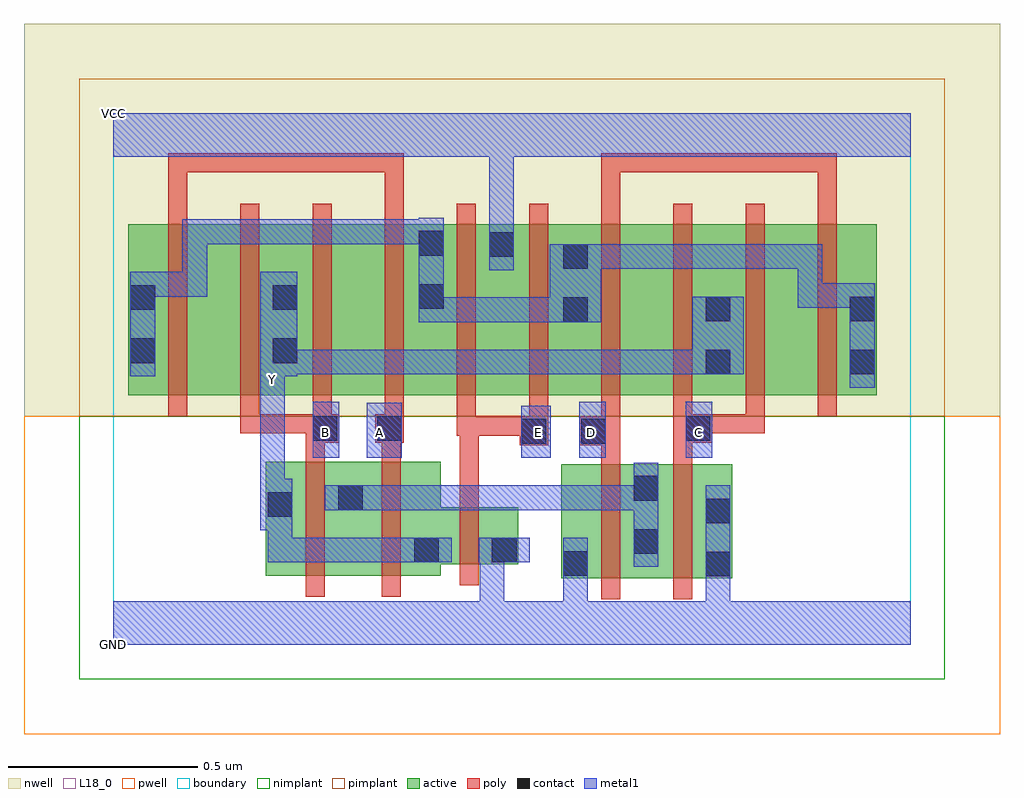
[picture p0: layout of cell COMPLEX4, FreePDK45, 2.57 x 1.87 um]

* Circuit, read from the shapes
.subckt COMPLEX4 A B C D E GND VCC Y
M1 n1 B Y VSUBS nfet w=0.3u l=0.05u
M2 Y A n1 VSUBS nfet w=0.3u l=0.05u
M3 GND E Y VSUBS nfet w=0.15u l=0.05u
M4 n1 D GND VSUBS nfet w=0.3u l=0.05u
M5 GND C n1 VSUBS nfet w=0.3u l=0.05u
M6 n2 A n3 n4 pfet w=0.45u l=0.05u
M7 Y B n2 n4 pfet w=0.45u l=0.05u
M8 n5 B Y n4 pfet w=0.45u l=0.05u
M9 n3 A n5 n4 pfet w=0.45u l=0.05u
M10 VCC E n3 n4 pfet w=0.45u l=0.05u m=2
M11 n6 D n3 n4 pfet w=0.45u l=0.05u
M12 Y C n6 n4 pfet w=0.45u l=0.05u
M13 n7 C Y n4 pfet w=0.45u l=0.05u
M14 n3 D n7 n4 pfet w=0.45u l=0.05u
.ends

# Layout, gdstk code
import gdstk
lib = gdstk.Library(unit=1e-6, precision=1e-09)
def R(c, l, rs):  # rectangles x0, y0, x1, y1
    for r in rs: c.add(gdstk.rectangle(r[:2], r[2:], *l))
def A(c, l, x, y, w, h, nx, ny, dx, dy):  # array of equal rectangles
    R(c, l, [(x+i*dx, y+j*dy, x+i*dx+w, y+j*dy+h) for i in range(nx) for j in range(ny)])
active = (1, 0)
pwell = (2, 0)
nwell = (3, 0)
nimplant = (4, 0)
pimplant = (5, 0)
poly = (9, 0)
contact = (10, 0)
metal1 = (11, 0)
L18_0 = (18, 0)
boundary = (235, 0)

complex4 = lib.new_cell('COMPLEX4')
R(complex4, active, [(1.18,0.175,1.44,0.475), (1.365,0.175,1.63,0.475), (1.555,0.175,1.63,0.475), (1.18,0.177,1.255,0.475), (0.402,0.182,0.662,0.482), (0.587,0.182,0.862,0.482), (0.402,0.2,0.477,0.482), (0.787,0.2,0.862,0.287), (1.365,0.2,1.44,0.45), (0.787,0.212,1.067,0.362), (0.992,0.212,1.067,0.362), (0.587,0.247,0.662,0.425), (0.04,0.657,0.115,1.107), (0.04,0.657,0.265,1.107), (0.265,0.657,0.49,1.107), (0.415,0.657,0.645,1.107), (0.415,0.657,0.49,1.07), (0.645,0.657,0.875,1.107), (0.8,0.657,1.06,1.107), (0.985,0.657,1.255,1.107), (1.18,0.657,1.405,1.107), (1.405,0.657,1.63,1.107), (1.555,0.657,1.785,1.107), (1.555,0.657,1.63,1.07), (1.785,0.657,2.01,1.107), (1.935,0.657,2.01,1.107), (1.18,0.702,1.255,1.107), (0.8,0.782,0.875,1.107), (0.985,0.795,1.06,1.107)])
R(complex4, pwell, [(-0.235,-0.235,2.335,0.602)])
R(complex4, nwell, [(-0.235,0.602,2.335,1.635)])
R(complex4, nimplant, [(-0.09,-0.09,2.19,0.602)])
R(complex4, pimplant, [(-0.09,0.602,2.19,1.49)])
A(complex4, poly, 0.905, 0.55, 0.05, 0.102, 3, 1, 0.19, 0)
A(complex4, poly, 0.335, 0.557, 0.05, 0.095, 3, 1, 0.19, 0)
A(complex4, poly, 0.145, 0.602, 0.05, 0.56, 10, 1, 0.19, 0)
A(complex4, poly, 0.145, 1.112, 0.05, 0.183, 4, 1, 0.57, 0)
R(complex4, poly, [(1.285,0.12,1.335,0.53), (1.475,0.12,1.525,0.53), (0.507,0.127,0.557,0.537), (0.707,0.127,0.757,0.537), (0.912,0.157,0.962,0.417), (0.912,0.367,0.962,0.6), (1.285,0.48,1.335,0.575), (1.475,0.48,1.525,0.582), (0.507,0.487,0.557,0.582), (0.707,0.487,0.757,0.582), (1.07,0.525,1.145,0.6), (1.227,0.525,1.335,0.6), (0.507,0.532,0.595,0.607), (0.69,0.532,0.765,0.607), (1.475,0.532,1.577,0.607), (0.905,0.55,0.962,0.6), (0.912,0.55,1.12,0.6), (1.07,0.55,1.12,0.6), (1.07,0.55,1.12,0.6), (0.335,0.557,0.385,0.607), (0.335,0.557,0.385,0.607), (0.335,0.557,0.385,0.607), (0.335,0.557,0.557,0.607), (1.475,0.557,1.525,0.652), (1.527,0.557,1.577,0.607), (1.527,0.557,1.577,0.607), (1.527,0.557,1.715,0.607), (1.665,0.557,1.715,0.607), (1.665,0.557,1.715,0.652), (0.145,1.245,0.195,1.295), (0.145,1.245,0.195,1.295), (0.145,1.245,0.195,1.295), (0.145,1.245,0.425,1.295), (0.375,1.245,0.425,1.295), (0.375,1.245,0.425,1.295), (0.375,1.245,0.425,1.295), (0.375,1.245,0.607,1.295), (0.557,1.245,0.607,1.295), (0.557,1.245,0.607,1.295), (0.557,1.245,0.607,1.295), (0.557,1.245,0.765,1.295), (0.715,1.245,0.765,1.295), (1.285,1.245,1.335,1.295), (1.285,1.245,1.335,1.295), (1.285,1.245,1.335,1.295), (1.285,1.245,1.582,1.295), (1.532,1.245,1.582,1.295), (1.532,1.245,1.582,1.295), (1.532,1.245,1.582,1.295), (1.532,1.245,1.772,1.295), (1.722,1.245,1.772,1.295), (1.722,1.245,1.905,1.295), (1.855,1.245,1.905,1.295), (1.855,1.245,1.905,1.295), (1.855,1.245,1.905,1.295)])
R(complex4, contact, [(1.56,0.18,1.625,0.245), (1.185,0.182,1.25,0.247), (0.792,0.217,0.857,0.282), (0.997,0.217,1.062,0.282), (1.37,0.24,1.435,0.305), (1.56,0.32,1.625,0.385), (0.407,0.337,0.472,0.402), (0.592,0.355,0.657,0.42), (1.37,0.38,1.435,0.445), (1.075,0.53,1.14,0.595), (1.232,0.53,1.297,0.595), (0.525,0.537,0.59,0.602), (0.695,0.537,0.76,0.602), (1.507,0.537,1.572,0.602), (1.56,0.712,1.625,0.777), (1.94,0.712,2.005,0.777), (0.045,0.742,0.11,0.807), (0.42,0.742,0.485,0.807), (1.185,0.85,1.25,0.915), (1.56,0.852,1.625,0.917), (1.94,0.852,2.005,0.917), (0.045,0.882,0.11,0.947), (0.42,0.882,0.485,0.947), (0.805,0.885,0.87,0.95), (1.185,0.99,1.25,1.055), (0.99,1.022,1.055,1.087), (0.805,1.025,0.87,1.09)])
R(complex4, metal1, [(0,0,2.1,0.115), (0.965,0.05,1.03,0.282), (1.185,0.05,1.25,0.212), (1.56,0.05,1.625,0.115), (1.56,0.05,1.625,0.115), (1.56,0.05,1.625,0.21), (1.56,0.145,1.625,0.42), (1.185,0.147,1.25,0.212), (1.185,0.147,1.25,0.212), (1.185,0.147,1.25,0.282), (1.37,0.205,1.435,0.48), (0.407,0.217,0.472,0.282), (0.407,0.217,0.472,0.282), (0.407,0.217,0.472,0.282), (0.407,0.217,0.622,0.282), (0.407,0.217,0.472,0.367), (0.557,0.217,0.622,0.282), (0.557,0.217,0.622,0.282), (0.557,0.217,0.622,0.282), (0.557,0.217,0.822,0.282), (0.757,0.217,0.892,0.282), (0.962,0.217,1.097,0.282), (0.965,0.217,1.03,0.282), (0.965,0.217,1.03,0.282), (0.965,0.217,1.03,0.282), (0.965,0.217,1.03,0.282), (0.387,0.302,0.472,0.437), (0.557,0.355,0.692,0.42), (0.627,0.355,0.692,0.42), (0.627,0.355,0.692,0.42), (0.627,0.355,0.89,0.42), (0.825,0.355,0.89,0.42), (0.825,0.355,0.89,0.42), (0.825,0.355,0.89,0.42), (0.825,0.355,1.077,0.42), (1.012,0.355,1.077,0.42), (1.012,0.355,1.077,0.42), (1.012,0.355,1.077,0.42), (1.012,0.355,1.297,0.42), (1.232,0.355,1.297,0.42), (1.232,0.355,1.297,0.42), (1.232,0.355,1.297,0.42), (1.232,0.355,1.435,0.42), (0.387,0.372,0.452,0.697), (0.525,0.492,0.595,0.64), (0.667,0.492,0.76,0.637), (1.075,0.492,1.152,0.63), (1.227,0.492,1.297,0.64), (1.507,0.492,1.577,0.64), (0.387,0.632,0.452,0.772), (1.94,0.677,2.005,0.952), (0.045,0.707,0.11,0.982), (0.387,0.707,0.452,0.772), (0.387,0.707,0.485,0.982), (0.42,0.712,0.485,0.777), (0.42,0.712,0.485,0.777), (0.42,0.712,0.622,0.777), (0.557,0.712,0.622,0.777), (0.557,0.712,0.622,0.777), (0.557,0.712,0.622,0.777), (0.557,0.712,0.89,0.777), (0.825,0.712,0.89,0.777), (0.825,0.712,0.89,0.777), (0.825,0.712,0.89,0.777), (0.825,0.712,1.077,0.777), (1.012,0.712,1.077,0.777), (1.012,0.712,1.077,0.777), (1.012,0.712,1.077,0.777), (1.012,0.712,1.297,0.777), (1.232,0.712,1.297,0.777), (1.232,0.712,1.297,0.777), (1.232,0.712,1.297,0.777), (1.232,0.712,1.452,0.777), (1.387,0.712,1.452,0.777), (1.387,0.712,1.452,0.777), (1.387,0.712,1.452,0.777), (1.387,0.712,1.59,0.777), (1.525,0.712,1.66,0.917), (0.805,0.85,0.87,0.915), (0.805,0.85,0.87,0.915), (0.805,0.85,0.87,1.125), (0.805,0.85,1.077,0.915), (1.012,0.85,1.077,0.915), (1.012,0.85,1.077,0.915), (1.012,0.85,1.077,0.915), (1.012,0.85,1.215,0.915), (1.15,0.85,1.285,1.055), (1.802,0.887,1.867,0.952), (1.802,0.887,2.005,0.952), (1.802,0.887,1.867,1.055), (1.94,0.887,2.005,0.952), (1.94,0.887,2.005,0.952), (0.045,0.917,0.11,0.982), (0.045,0.917,0.11,0.982), (0.045,0.917,0.247,0.982), (0.182,0.917,0.247,0.982), (0.182,0.917,0.247,1.12), (0.99,0.987,1.055,1.122), (1.22,0.99,1.285,1.055), (1.22,0.99,1.285,1.055), (1.22,0.99,1.452,1.055), (1.387,0.99,1.452,1.055), (1.387,0.99,1.452,1.055), (1.387,0.99,1.452,1.055), (1.387,0.99,1.73,1.055), (1.665,0.99,1.73,1.055), (1.665,0.99,1.73,1.055), (1.665,0.99,1.73,1.055), (1.665,0.99,1.867,1.055), (1.802,0.99,1.867,1.055), (0.182,1.055,0.247,1.12), (0.182,1.055,0.247,1.12), (0.182,1.055,0.247,1.12), (0.182,1.055,0.485,1.12), (0.42,1.055,0.485,1.12), (0.42,1.055,0.485,1.12), (0.42,1.055,0.485,1.12), (0.42,1.055,0.685,1.12), (0.62,1.055,0.685,1.12), (0.62,1.055,0.685,1.12), (0.62,1.055,0.685,1.12), (0.62,1.055,0.87,1.12), (0.99,1.057,1.055,1.35), (0,1.285,2.1,1.4), (0.99,1.285,1.055,1.35), (0.99,1.285,1.055,1.35)])
R(complex4, L18_0, [(0,0,2.1,0.115), (0.965,0.05,1.03,0.282), (1.185,0.05,1.25,0.212), (1.56,0.05,1.625,0.115), (1.56,0.05,1.625,0.115), (1.56,0.05,1.625,0.21), (1.56,0.145,1.625,0.42), (1.185,0.147,1.25,0.212), (1.185,0.147,1.25,0.212), (1.185,0.147,1.25,0.282), (0.407,0.217,0.472,0.282), (0.407,0.217,0.472,0.282), (0.407,0.217,0.472,0.282), (0.407,0.217,0.472,0.367), (0.407,0.217,0.622,0.282), (0.557,0.217,0.622,0.282), (0.557,0.217,0.622,0.282), (0.557,0.217,0.622,0.282), (0.557,0.217,0.822,0.282), (0.757,0.217,0.892,0.282), (0.962,0.217,1.097,0.282), (0.965,0.217,1.03,0.282), (0.965,0.217,1.03,0.282), (0.965,0.217,1.03,0.282), (0.965,0.217,1.03,0.282), (0.387,0.302,0.472,0.437), (0.387,0.372,0.452,0.697), (0.525,0.492,0.595,0.64), (0.667,0.492,0.76,0.637), (1.075,0.492,1.152,0.63), (1.227,0.492,1.297,0.64), (1.507,0.492,1.577,0.64), (0.527,0.527,0.592,0.592), (0.667,0.527,0.732,0.592), (1.087,0.527,1.152,0.592), (1.227,0.527,1.292,0.592), (1.507,0.527,1.572,0.592), (0.387,0.632,0.452,0.772), (0.387,0.667,0.452,0.732), (0.387,0.707,0.452,0.772), (0.387,0.707,0.485,0.982), (0.42,0.712,0.485,0.777), (0.42,0.712,0.485,0.777), (0.42,0.712,0.622,0.777), (0.557,0.712,0.622,0.777), (0.557,0.712,0.622,0.777), (0.557,0.712,0.622,0.777), (0.557,0.712,0.89,0.777), (0.825,0.712,0.89,0.777), (0.825,0.712,0.89,0.777), (0.825,0.712,0.89,0.777), (0.825,0.712,1.077,0.777), (1.012,0.712,1.077,0.777), (1.012,0.712,1.077,0.777), (1.012,0.712,1.077,0.777), (1.012,0.712,1.297,0.777), (1.232,0.712,1.297,0.777), (1.232,0.712,1.297,0.777), (1.232,0.712,1.297,0.777), (1.232,0.712,1.452,0.777), (1.387,0.712,1.452,0.777), (1.387,0.712,1.452,0.777), (1.387,0.712,1.452,0.777), (1.387,0.712,1.59,0.777), (1.525,0.712,1.66,0.917), (0.99,0.987,1.055,1.122), (0.99,1.057,1.055,1.35), (0,1.285,2.1,1.4), (0.99,1.285,1.055,1.35), (0.99,1.285,1.055,1.35)])
R(complex4, boundary, [(0,0,2.1,1.4)])
complex4.add(gdstk.Label('A', (0.7,0.56), layer=11, texttype=0))
complex4.add(gdstk.Label('B', (0.56,0.56), layer=11, texttype=0))
complex4.add(gdstk.Label('C', (1.54,0.56), layer=11, texttype=0))
complex4.add(gdstk.Label('D', (1.26,0.56), layer=11, texttype=0))
complex4.add(gdstk.Label('E', (1.12,0.56), layer=11, texttype=0))
complex4.add(gdstk.Label('Y', (0.42,0.7), layer=11, texttype=0))
complex4.add(gdstk.Label('VCC', (0,1.4), layer=11, texttype=0))
complex4.add(gdstk.Label('GND', (0,0), layer=11, texttype=0))

lib.write_gds('COMPLEX4.gds')
